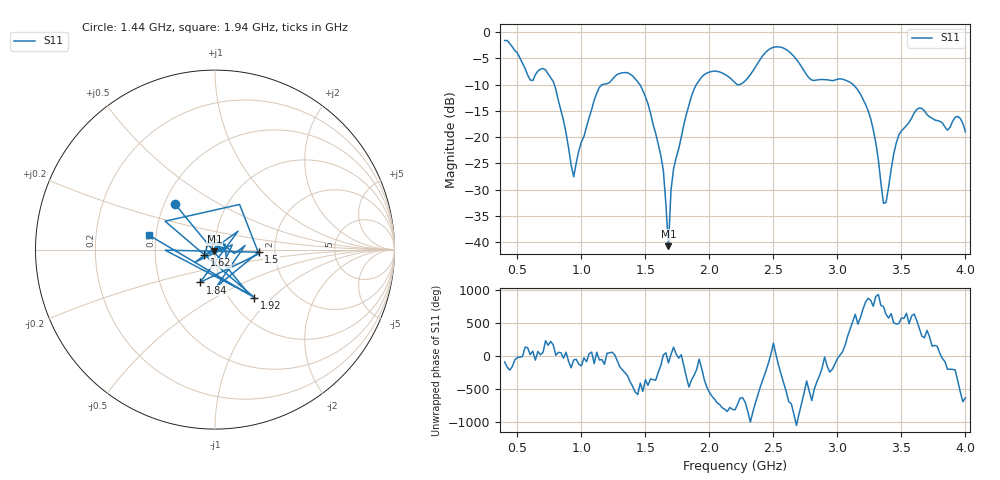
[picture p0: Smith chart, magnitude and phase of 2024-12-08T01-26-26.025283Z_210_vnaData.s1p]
!Created with skrf (http://scikit-rf.org).
# Hz S RI R 50.0
!freq ReS11 ImS11
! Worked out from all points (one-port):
!   181 points, 400 MHz to 4 GHz, reference 50 ohm
!   lowest |S11| = -40.7 dB at 1.68 GHz (marker M1), VSWR 1.02, Z = 49.7 - j0.867 ohm
!   |S11| at or under -10 dB: 788.1 MHz to 1.164 GHz (375.6 MHz wide, 38.5 % of centre); 1.457 GHz to 1.898 GHz (441.3 MHz wide, 26.3 % of centre); 3.123 GHz to end of sweep (the widest 3 of 4)
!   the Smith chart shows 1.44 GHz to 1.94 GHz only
!   S11 on the Smith chart (normalised r, x): 1.44 GHz: 0.57, +0.32; 1.5 GHz: 1.64, -0.05; 1.62 GHz: 0.89, -0.06; 1.84 GHz: 0.79, -0.30; 1.92 GHz: 1.29, -0.79; 1.94 GHz: 0.46, +0.08
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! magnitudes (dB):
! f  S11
! 400 MHz  -1.6
! 600 MHz  -9.1
! 720 MHz  -7.2
! 860 MHz  -16.8
! 940 MHz  -27.5
! 1.14 GHz  -10.5
! 1.3 GHz  -7.9
! 1.44 GHz  -9.4
! 1.5 GHz  -12.3
! 1.62 GHz  -23.4
! 1.64 GHz  -26.3
! 1.68 GHz  -40.7
! 1.7 GHz  -30.1
! 1.76 GHz  -22.2
! 1.84 GHz  -13.9
! 1.92 GHz  -9.2
! 1.94 GHz  -8.5
! 2.2 GHz  -9.6
! 2.48 GHz  -3.1
! 2.66 GHz  -4.6
! 2.8 GHz  -9.1
! 3.1 GHz  -9.6
! 3.26 GHz  -16.5
! 3.36 GHz  -32.6
! 3.46 GHz  -21.1
! 3.56 GHz  -17.2
! 3.64 GHz  -14.4
! 4 GHz  -19.0
